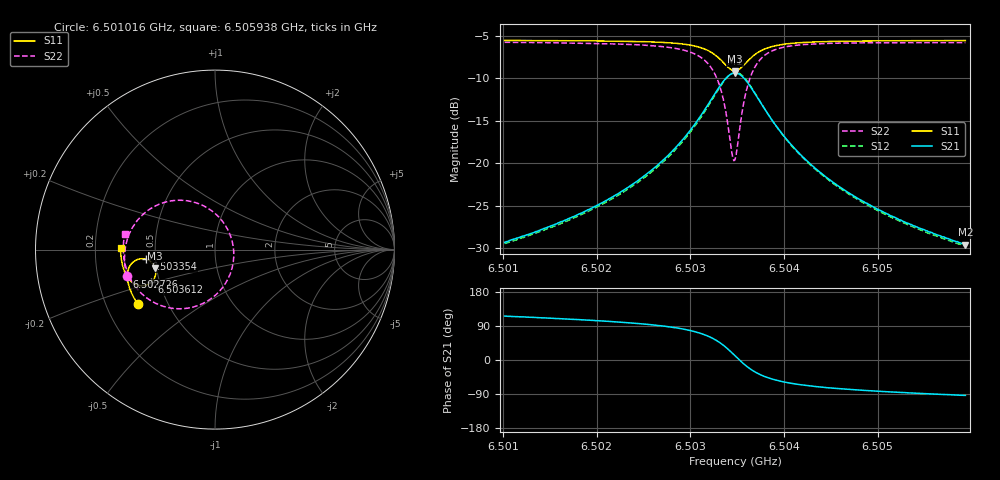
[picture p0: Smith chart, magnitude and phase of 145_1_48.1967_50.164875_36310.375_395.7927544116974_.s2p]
#  HZ  S  RI  R  50.00
! Rohde & Schwarz Vector Network Analyzer
! Rohde-Schwarz,ZNB20-2Port,1311601062101988,3.16
! Created: UTC 3/20/2024, 11:42:34 AM
! freq[Hz]  re:S11  im:S11  re:S21  im:S21  re:S12  im:S12  re:S22  im:S22
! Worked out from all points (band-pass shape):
!   401 points, 6.501016 GHz to 6.505938 GHz, reference 50 ohm
!   highest |S21| = -9.40 dB at 6.503477 GHz (marker M1); lowest = -29.6 dB at 6.505938 GHz (marker M2)
!   |S21| within 3 dB of the highest: 6.50323 GHz to 6.503723 GHz (492.6 kHz wide, 0.00757 % of centre)
!   lowest |S11| = -9.1 dB at 6.503477 GHz (marker M3), VSWR 2.07, Z = 24.6 - j5.84 ohm
!   |S11| at or under -10 dB: nowhere
!   |S22| runs from -19.7 to -5.8 dB; largest |S21 - S12| = 0.012
!   S11 on the Smith chart (normalised r, x): 6.501016 GHz: 0.34, -0.29; 6.502726 GHz: 0.33, -0.14; 6.503354 GHz: 0.44, -0.06; 6.503612 GHz: 0.45, -0.19; 6.505938 GHz: 0.31, +0.01
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6.5010159e9  -0.4293 -0.3049  -0.0149 0.0308  -0.0131 0.031  -0.4919 -0.1475
6.5018404e9  -0.4643 -0.2433  -0.014 0.0489  -0.0117 0.0486  -0.5041 -0.0584
6.5022464e9  -0.4784 -0.2072  -0.0117 0.0661  -0.00862 0.0651  -0.5013 -0.000662
6.5026648e9  -0.4884 -0.1609  -0.00166 0.099  0.00208 0.0966  -0.4794 0.0833
6.5027263e9  -0.4888 -0.1526  0.00162 0.1063  0.0054 0.1036  -0.4724 0.0996
6.5029478e9  -0.4853 -0.1176  0.0237 0.1417  0.0274 0.1373  -0.4259 0.1706
6.5031077e9  -0.4706 -0.0853  0.0634 0.1777  0.0662 0.1718  -0.3491 0.2342
6.5032554e9  -0.4328 -0.0557  0.1454 0.2066  0.1461 0.2001  -0.1995 0.275
6.5033538e9  -0.3863 -0.0529  0.2369 0.1896  0.237 0.1846  -0.0409 0.2315
6.50344e9  -0.3436 -0.0821  0.315 0.1146  0.3174 0.11  0.0839 0.0832
6.5034646e9  -0.3355 -0.0965  0.3284 0.0827  0.3314 0.0774  0.1007 0.0231
6.5034769e9  -0.3328 -0.1043  0.3325 0.0657  0.336 0.0599  0.1042 -0.00855
6.5035015e9  -0.3298 -0.1206  0.3359 0.031  0.3396 0.0239  0.1016 -0.072
6.5035384e9  -0.3321 -0.1445  0.3284 -0.0191  0.3315 -0.0283  0.0736 -0.1609
6.5036122e9  -0.3545 -0.1814  0.2814 -0.0952  0.281 -0.1069  -0.0371 -0.2834
6.503723e9  -0.4 -0.2012  0.1944 -0.1403  0.189 -0.1502  -0.2134 -0.3293
6.5038829e9  -0.4471 -0.1916  0.1106 -0.1365  0.1033 -0.1416  -0.3644 -0.2802
6.5040552e9  -0.4749 -0.1703  0.0652 -0.1153  0.0587 -0.1175  -0.4378 -0.2136
6.5043013e9  -0.4958 -0.1405  0.0345 -0.0902  0.0296 -0.0907  -0.4819 -0.1401
6.5046705e9  -0.5114 -0.1014  0.0152 -0.0662  0.0117 -0.0659  -0.5046 -0.0643
6.5051257e9  -0.5209 -0.0589  0.00511 -0.0492  0.00282 -0.0485  -0.5107 0.00162
6.5059378e9  -0.5259 0.0102  -0.00195 -0.0331  -0.00343 -0.0323  -0.5034 0.0889
